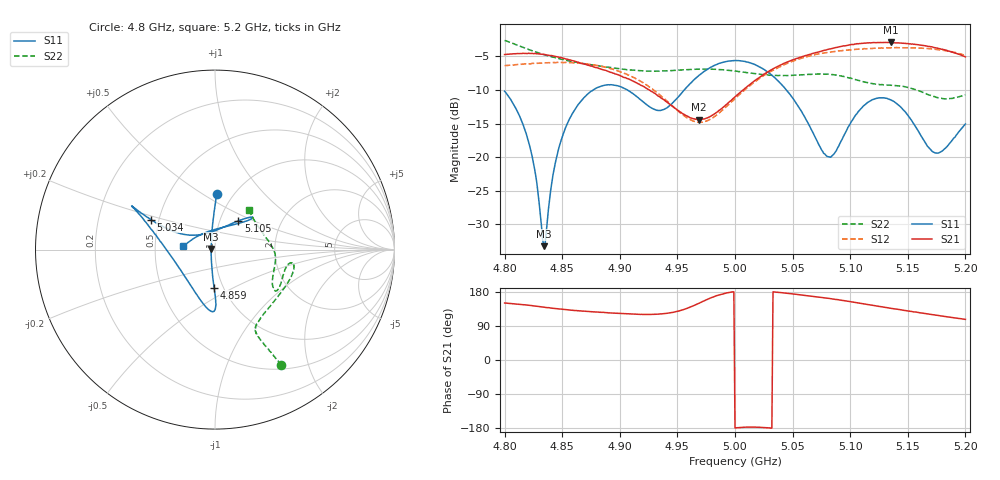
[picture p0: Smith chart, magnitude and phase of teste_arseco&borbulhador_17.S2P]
! Network Analyzer HP8722D
! Hewlett-Packard
! Data name: Linha & Wilkinson
! Saver's name: Rodrigo Anjos
! Comments: Teste da utilização de aquisição
! continua pelo VNA HP8722D
! Time and date: 15/4/2025 15:46
!  Frequency  S11  S21  S12  S22
# HZ  S  MA R 50
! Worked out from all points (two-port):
!   401 points, 4.8 GHz to 5.2 GHz, reference 50 ohm
!   highest |S21| = -2.90 dB at 5.135 GHz (marker M1); lowest = -14.4 dB at 4.969 GHz (marker M2)
!   |S21| within 3 dB of the highest: start of sweep to 4.864 GHz; 5.044 GHz to end of sweep
!   lowest |S11| = -33.3 dB at 4.834 GHz (marker M3), VSWR 1.04, Z = 47.9 + j0.341 ohm
!   |S11| at or under -10 dB: start of sweep to 4.877 GHz; 4.907 GHz to 4.956 GHz (49.41 MHz wide, 1 % of centre); 5.045 GHz to end of sweep
!   |S22| runs from -11.3 to -2.6 dB; largest |S21 - S12| = 1.3
!   S11 on the Smith chart (normalised r, x): 4.8 GHz: 0.84, +0.58; 4.859 GHz: 0.91, -0.40; 5.034 GHz: 0.45, +0.18; 5.105 GHz: 1.23, +0.41; 5.2 GHz: 0.70, +0.02
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4.8e9  0.3097 88.2  0.5808 150.5  0.4807 -111.4  0.7399 -60.0
4.812e9  0.2116 91.3  0.5901 147.3  0.4898 -111.3  0.6767 -61.2
4.821e9  0.1284 96.2  0.5945 144.4  0.4962 -110.6  0.6323 -61.7
4.827e9  0.07277 105.3  0.59 142.2  0.4996 -110.0  0.6075 -62.2
4.834e9  0.02168 170.6  0.582 139.6  0.5042 -109.5  0.5804 -62.9
4.836e9  0.02659 -143.9  0.5775 138.8  0.5048 -109.1  0.5729 -62.9
4.841e9  0.06423 -108.1  0.5706 136.7  0.5062 -109.0  0.5581 -63.3
4.845e9  0.09858 -100.3  0.5609 135.5  0.5074 -108.8  0.5467 -63.5
4.859e9  0.212 -91.4  0.5235 131.2  0.5048 -108.6  0.516 -63.9
4.867e9  0.2658 -89.6  0.4991 129.1  0.4988 -108.6  0.5012 -63.2
4.894e9  0.3448 -93.4  0.4219 123.8  0.4522 -111.7  0.4632 -57.4
4.934e9  0.2226 -145.8  0.2831 121.1  0.2949 -116.3  0.4367 -35.5
4.969e9  0.4077 159.0  0.1904 150.3  0.1817 -85.6  0.4525 -16.9
5e9  0.5244 152.3  0.2809 -179.6  0.2731 -49.8  0.4371 -9.9
5.034e9  0.3945 154.9  0.4591 179.5  0.4479 -43.2  0.4063 -15.3
5.067e9  0.1562 149.1  0.591 168.2  0.5748 -46.5  0.4144 -29.3
5.083e9  0.0997 102.3  0.6405 161.9  0.6064 -49.5  0.4124 -33.8
5.105e9  0.2071 50.8  0.6958 151.6  0.6355 -54.4  0.377 -31.6
5.134e9  0.2691 40.0  0.7141 137.1  0.6519 -63.3  0.3436 -12.6
5.135e9  0.2674 40.2  0.7165 136.6  0.6524 -63.5  0.3428 -11.9
5.174e9  0.1073 104.0  0.6529 118.6  0.6363 -77.4  0.2801 19.9
5.2e9  0.1766 174.4  0.5574 107.2  0.572 -86.1  0.291 49.9
